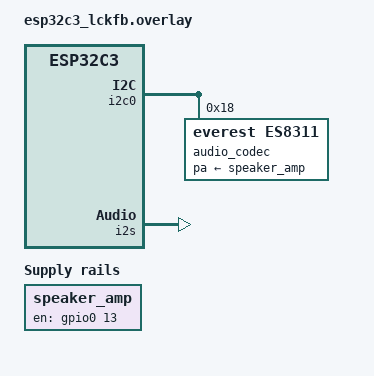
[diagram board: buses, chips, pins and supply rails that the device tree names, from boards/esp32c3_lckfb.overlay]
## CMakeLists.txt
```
# SPDX-License-Identifier: Apache-2.0

cmake_minimum_required(VERSION 3.20.0)

# 复用应用目录下的板级定义 boards/ 与编解码器的设备树绑定 dts/bindings
list(APPEND BOARD_ROOT ${CMAKE_CURRENT_SOURCE_DIR}/../..)
list(APPEND DTS_ROOT ${CMAKE_CURRENT_SOURCE_DIR}/../..)

# 板级接线由所用板子的设备树提供, 示例只依赖 i2s 与 audio_codec 两个节点
find_package(Zephyr REQUIRED HINTS $ENV{ZEPHYR_BASE})
project(playback)

target_sources(app PRIVATE
	src/main.c
	../../drivers/audio/es8311.c
)

# 待播放的原始 PCM 在构建时转成字节数组, 由 main.c 直接 include
generate_inc_file_for_target(
	app
	audio/clip.pcm
	${ZEPHYR_BINARY_DIR}/include/generated/clip.pcm.inc
)
```

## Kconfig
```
# SPDX-License-Identifier: Apache-2.0

mainmenu "音频播放示例配置"

# source 的路径相对 Zephyr 根目录, 本工程自己的文件用 rsource 引入
source "Kconfig.zephyr"

rsource "../../drivers/audio/Kconfig"
```

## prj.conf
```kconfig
# 控制台与日志
CONFIG_LOG=y
CONFIG_CONSOLE=y
CONFIG_SERIAL=y
CONFIG_UART_CONSOLE=y
CONFIG_STDOUT_CONSOLE=y

# 音频: 编解码器的控制通道走 I2C, PCM 走 I2S
CONFIG_I2C=y
CONFIG_I2S=y
CONFIG_AUDIO=y
CONFIG_AUDIO_CODEC=y
CONFIG_GPIO=y

# 功放电源开关要在使用它的编解码器之前完成初始化(设备树中 pa-supply 声明了该依赖)
CONFIG_REGULATOR_FIXED_INIT_PRIORITY=55
```

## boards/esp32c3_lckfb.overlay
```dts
/*
 * 立创·实战派 ESP32-C3 开发板 V1.3 在官方 esp32c3_lckfb 板定义之外的差异
 * 引脚与网络依据原理图整理结果, 见 ../../../doc/SCH_ESP32-C3-V1_3.md
 */

/*
 * 本板没有原生 USB, GPIO18/GPIO19 用作外部接口 J2, 官方板定义默认打开
 * USB Serial/JTAG, 会占用这两脚, 因此关闭。
 */
&usb_serial {
	status = "disabled";
};

/* 官方板定义只把 MCLK/BCK/DI 接进 I2S, 播放还需要帧同步与播放数据脚 */
&pinctrl {
	i2s_default {
		group2 {
			pinmux = <I2S_O_WS_GPIO12>,
				 <I2S_O_SD_GPIO11>;
		};
	};
};

/ {
	/* 扬声器功放 NS4150B 的使能脚, 播放期间由 ES8311 驱动打开 */
	speaker_amp: speaker-amp {
		compatible = "regulator-fixed";
		regulator-name = "ns4150b";
		enable-gpios = <&gpio0 13 GPIO_ACTIVE_HIGH>;
	};
};

&i2c0 {
	/* ES8311 音频编解码器, CE 接地, 7 位地址 0x18 */
	audio_codec: es8311@18 {
		compatible = "everest,es8311";
		reg = <0x18>;
		pa-supply = <&speaker_amp>;
	};
};

/* 语音播放的数据经编解码器 ES8311 在 I2S 上交换 */
&i2s {
	status = "okay";
};

/* I2S 发送数据经 GDMA 搬运 */
&dma {
	status = "okay";
};
```

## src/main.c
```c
/*
 * SPDX-License-Identifier: Apache-2.0
 *
 * 音频播放示例: 把 audio/clip.pcm 里的原始 PCM 经 I2S 送给编解码器, 由扬声器放出来。
 * 音频为 16 kHz / 16 位 / 双声道, 换成自己的音频的办法见 README.md。
 */

#include <zephyr/audio/codec.h>
#include <zephyr/device.h>
#include <zephyr/drivers/i2s.h>
#include <zephyr/kernel.h>

#include <string.h>

#define SAMPLE_RATE  16000U
#define CHANNELS     2U
#define BLOCK_MS     20U
#define BLOCK_FRAMES (SAMPLE_RATE / 1000U * BLOCK_MS)
#define BLOCK_SIZE   (BLOCK_FRAMES * CHANNELS * sizeof(int16_t))
#define BLOCK_COUNT  4U

K_MEM_SLAB_DEFINE(playback_tx_slab, BLOCK_SIZE, BLOCK_COUNT, 4);

/* 构建时由 audio/clip.pcm 生成的字节数组 */
static const uint8_t s_clip_pcm[] = {
#include <clip.pcm.inc>
};

/* 待送出的整块数据, i2s_buf_write 会把它拷进驱动内部块 */
static uint8_t s_block[BLOCK_SIZE];

/* 把音频里从第 offset 字节开始的一块送入 I2S, 末尾不足一块的部分补静音 */
static int audio_send_block(const struct device *i2s_dev, size_t offset)
{
	size_t chunk = MIN(sizeof(s_clip_pcm) - offset, BLOCK_SIZE);

	memcpy(s_block, &s_clip_pcm[offset], chunk);
	memset(s_block + chunk, 0, BLOCK_SIZE - chunk);

	return i2s_buf_write(i2s_dev, s_block, BLOCK_SIZE);
}

int main(void)
{
	const struct device *i2s_dev = DEVICE_DT_GET(DT_NODELABEL(i2s));
	const struct device *codec_dev = DEVICE_DT_GET(DT_NODELABEL(audio_codec));
	struct audio_codec_cfg codec_cfg = {
		/* 驱动要求 MCLK 为 256 倍采样率 */
		.mclk_freq = SAMPLE_RATE * 256U,
		.dai_type = AUDIO_DAI_TYPE_I2S,
		.dai_route = AUDIO_ROUTE_PLAYBACK,
		.dai_cfg.i2s = {
			.word_size = 16U,
			.channels = CHANNELS,
			.format = I2S_FMT_DATA_FORMAT_I2S,
			/* 时钟由 MCU 产生, 编解码器作为从机 */
			.options = I2S_OPT_BIT_CLK_TARGET | I2S_OPT_FRAME_CLK_TARGET,
			.frame_clk_freq = SAMPLE_RATE,
			.mem_slab = &playback_tx_slab,
			.block_size = BLOCK_SIZE,
		},
	};
	struct i2s_config i2s_cfg = {
		.word_size = 16U,
		.channels = CHANNELS,
		.format = I2S_FMT_DATA_FORMAT_I2S,
		.options = I2S_OPT_BIT_CLK_CONTROLLER | I2S_OPT_FRAME_CLK_CONTROLLER,
		.frame_clk_freq = SAMPLE_RATE,
		.block_size = BLOCK_SIZE,
		.mem_slab = &playback_tx_slab,
		.timeout = 1000U,
	};
	int ret;

	ret = audio_codec_configure(codec_dev, &codec_cfg);
	if (ret < 0) {
		return ret;
	}

	ret = i2s_configure(i2s_dev, I2S_DIR_TX, &i2s_cfg);
	if (ret < 0) {
		return ret;
	}

	/* 打开播放通路, 驱动在这里使能功放并解除 DAC 静音 */
	ret = audio_codec_start(codec_dev, AUDIO_DAI_DIR_TX);
	if (ret < 0) {
		return ret;
	}

	/* 第一块要在启动前送入, 发送队列空转会被 I2S 驱动判为错误 */
	ret = audio_send_block(i2s_dev, 0U);
	if (ret < 0) {
		goto err_stop;
	}

	ret = i2s_trigger(i2s_dev, I2S_DIR_TX, I2S_TRIGGER_START);
	if (ret < 0) {
		goto err_stop;
	}

	for (size_t offset = BLOCK_SIZE; offset < sizeof(s_clip_pcm); offset += BLOCK_SIZE) {
		ret = audio_send_block(i2s_dev, offset);
		if (ret < 0) {
			goto err_stop;
		}
	}

	/* 送完后等发送队列排空再关闭通路, 结尾的几块不会被切掉 */
	ret = i2s_trigger(i2s_dev, I2S_DIR_TX, I2S_TRIGGER_DRAIN);
	k_sleep(K_MSEC((BLOCK_COUNT + 1U) * BLOCK_MS));

err_stop:
	(void)audio_codec_stop(codec_dev, AUDIO_DAI_DIR_TX);

	printk("播放结束: %d\n", ret);

	return ret;
}
```
